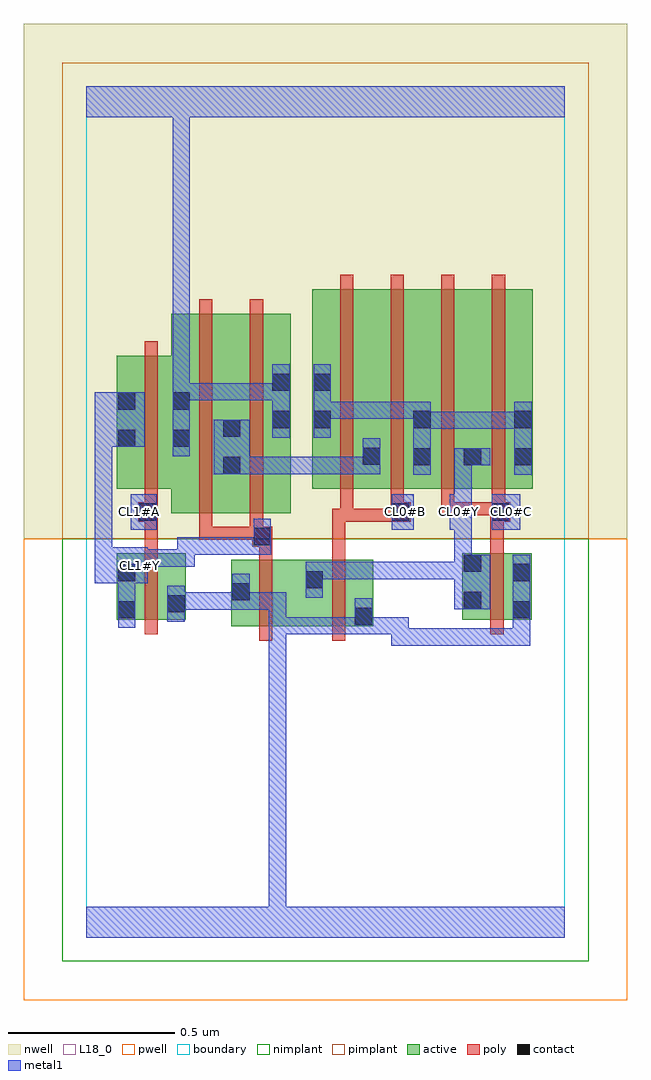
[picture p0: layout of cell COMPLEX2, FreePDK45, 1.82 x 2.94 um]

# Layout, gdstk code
import gdstk
lib = gdstk.Library(unit=1e-6, precision=1e-09)
def R(c, l, rs):  # rectangles x0, y0, x1, y1
    for r in rs: c.add(gdstk.rectangle(r[:2], r[2:], *l))
def A(c, l, x, y, w, h, nx, ny, dx, dy):  # array of equal rectangles
    R(c, l, [(x+i*dx, y+j*dy, x+i*dx+w, y+j*dy+h) for i in range(nx) for j in range(ny)])
active = (1, 0)
pwell = (2, 0)
nwell = (3, 0)
nimplant = (4, 0)
pimplant = (5, 0)
poly = (9, 0)
contact = (10, 0)
metal1 = (11, 0)
L18_0 = (18, 0)
boundary = (235, 0)

complex2 = lib.new_cell('COMPLEX2')
A(complex2, active, 0.828, 1.35, 0.06, 0.494, 4, 1, 0.152, 0)
A(complex2, active, 0.828, 1.35, 0.212, 0.6, 3, 1, 0.152, 0)
R(complex2, active, [(0.436,0.936,0.716,1.136), (0.656,0.936,0.864,1.136), (0.804,0.936,0.864,1.136), (0.092,0.956,0.152,1.156), (0.092,0.956,0.3,1.156), (0.24,0.956,0.3,1.156), (0.436,0.956,0.496,1.136), (0.656,0.956,0.716,1.136), (1.132,0.956,1.192,1.156), (1.132,0.956,1.34,1.156), (1.28,0.956,1.34,1.156), (0.256,1.276,0.468,1.876), (0.408,1.276,0.616,1.876), (0.408,1.276,0.468,1.844), (0.556,1.276,0.616,1.844), (0.092,1.35,0.152,1.644), (0.092,1.35,0.316,1.75), (0.256,1.35,0.316,1.644), (0.68,1.35,0.74,1.844), (0.68,1.35,0.888,1.95)])
R(complex2, pwell, [(-0.188,-0.188,1.628,1.2)])
R(complex2, nwell, [(-0.188,1.2,1.628,2.748)])
R(complex2, nimplant, [(-0.072,-0.072,1.512,1.2)])
R(complex2, pimplant, [(-0.072,1.2,1.512,2.632)])
A(complex2, poly, 0.916, 1.27, 0.04, 0.076, 3, 1, 0.152, 0)
A(complex2, poly, 0.764, 1.306, 0.04, 0.688, 4, 1, 0.152, 0)
R(complex2, poly, [(0.52,0.892,0.56,1.18), (0.74,0.892,0.78,1.18), (0.176,0.912,0.216,1.2), (1.216,0.912,1.256,1.2), (0.52,1.14,0.56,1.216), (0.74,1.14,0.78,1.29), (0.176,1.16,0.216,1.29), (1.216,1.16,1.256,1.29), (0.5,1.176,0.56,1.236), (0.34,1.196,0.38,1.272), (0.34,1.196,0.38,1.236), (0.34,1.196,0.38,1.236), (0.34,1.196,0.38,1.236), (0.34,1.196,0.532,1.236), (0.492,1.196,0.532,1.272), (0.492,1.196,0.54,1.236), (0.5,1.196,0.54,1.236), (0.34,1.232,0.38,1.92), (0.492,1.232,0.532,1.92), (0.156,1.25,0.216,1.31), (0.176,1.25,0.216,1.29), (0.176,1.25,0.216,1.29), (0.74,1.25,0.78,1.29), (0.74,1.25,0.78,1.29), (0.74,1.25,0.804,1.29), (0.764,1.25,0.804,1.29), (0.764,1.25,0.804,1.29), (0.764,1.25,0.956,1.29), (0.764,1.25,0.804,1.346), (0.916,1.25,0.976,1.31), (1.216,1.25,1.256,1.29), (1.216,1.25,1.256,1.29), (1.216,1.25,1.276,1.31), (0.176,1.27,0.216,1.346), (1.068,1.27,1.108,1.31), (1.068,1.27,1.256,1.31), (1.216,1.27,1.256,1.31), (1.216,1.27,1.256,1.31), (0.176,1.306,0.216,1.794)])
A(complex2, contact, 0.984, 1.42, 0.052, 0.052, 3, 1, 0.152, 0)
R(complex2, contact, [(0.808,0.94,0.86,0.992), (0.096,0.96,0.148,1.012), (1.284,0.96,1.336,1.012), (0.244,0.978,0.296,1.03), (1.136,0.988,1.188,1.04), (0.44,1.014,0.492,1.066), (0.66,1.05,0.712,1.102), (0.096,1.072,0.148,1.124), (1.284,1.072,1.336,1.124), (1.136,1.1,1.188,1.152), (0.504,1.18,0.556,1.232), (0.16,1.254,0.212,1.306), (0.92,1.254,0.972,1.306), (1.22,1.254,1.272,1.306), (0.412,1.394,0.464,1.446), (0.832,1.422,0.884,1.474), (0.096,1.476,0.148,1.528), (0.26,1.476,0.312,1.528), (0.412,1.506,0.464,1.558), (0.56,1.532,0.612,1.584), (0.684,1.532,0.736,1.584), (0.984,1.532,1.036,1.584), (1.288,1.532,1.34,1.584), (0.096,1.588,0.148,1.64), (0.26,1.588,0.312,1.64), (0.56,1.644,0.612,1.696), (0.684,1.644,0.736,1.696)])
R(complex2, metal1, [(0,0,1.44,0.092), (0.55,0.04,0.602,0.092), (0.55,0.04,0.602,0.092), (0.55,0.04,0.602,0.092), (0.55,0.04,0.602,0.092), (0.55,0.04,0.602,0.092), (0.55,0.04,0.602,0.092), (0.55,0.04,0.602,0.092), (0.55,0.04,0.602,0.092), (0.55,0.04,0.602,0.092), (0.55,0.04,0.602,0.092), (0.55,0.04,0.602,0.092), (0.55,0.04,0.602,0.092), (0.55,0.04,0.602,0.092), (0.55,0.04,0.602,0.092), (0.55,0.04,0.602,0.964), (0.918,0.878,1.162,0.93), (0.918,0.878,0.97,0.964), (1.11,0.878,1.162,0.93), (1.11,0.878,1.162,0.93), (1.11,0.878,1.162,0.93), (1.11,0.878,1.336,0.93), (1.284,0.878,1.336,0.984), (0.55,0.912,0.602,0.964), (0.55,0.912,0.602,0.964), (0.55,0.912,0.602,0.964), (0.55,0.912,0.602,0.964), (0.55,0.912,0.602,0.964), (0.55,0.912,0.86,0.964), (0.55,0.912,0.602,1.038), (0.808,0.912,0.86,0.964), (0.808,0.912,0.86,0.964), (0.808,0.912,0.97,0.964), (0.808,0.912,0.86,1.02), (0.918,0.912,0.97,0.964), (0.918,0.912,0.97,0.964), (0.096,0.932,0.148,1.152), (1.284,0.932,1.336,0.984), (1.284,0.932,1.336,1.152), (0.244,0.95,0.296,1.058), (0.244,0.986,0.296,1.038), (0.244,0.986,0.296,1.038), (0.244,0.986,0.492,1.038), (0.44,0.986,0.492,1.038), (0.44,0.986,0.492,1.038), (0.44,0.986,0.602,1.038), (0.44,0.986,0.492,1.094), (0.55,0.986,0.602,1.038), (1.108,0.988,1.216,1.152), (0.66,1.022,0.712,1.13), (0.026,1.066,0.186,1.174), (0.66,1.078,0.846,1.13), (0.794,1.078,0.846,1.13), (0.794,1.078,0.846,1.13), (0.794,1.078,0.846,1.13), (0.794,1.078,1.036,1.13), (0.984,1.078,1.036,1.13), (0.984,1.078,1.036,1.13), (0.984,1.078,1.036,1.13), (0.984,1.078,1.16,1.13), (1.108,1.078,1.16,1.13), (1.108,1.078,1.16,1.13), (0.096,1.1,0.148,1.152), (1.108,1.1,1.16,1.278), (0.134,1.116,0.186,1.168), (0.134,1.116,0.186,1.168), (0.134,1.116,0.326,1.168), (0.274,1.116,0.326,1.168), (0.274,1.116,0.326,1.168), (0.274,1.116,0.326,1.204), (0.026,1.122,0.078,1.528), (0.274,1.152,0.436,1.204), (0.384,1.152,0.436,1.204), (0.384,1.152,0.556,1.204), (0.504,1.152,0.556,1.26), (0.134,1.226,0.212,1.334), (0.92,1.226,0.986,1.334), (1.094,1.226,1.16,1.334), (1.22,1.226,1.306,1.334), (1.108,1.282,1.16,1.472), (0.984,1.392,1.036,1.612), (1.288,1.392,1.34,1.612), (0.384,1.394,0.492,1.558), (0.44,1.394,0.492,1.446), (0.44,1.394,0.492,1.446), (0.44,1.394,0.602,1.446), (0.55,1.394,0.602,1.446), (0.55,1.394,0.602,1.446), (0.55,1.394,0.602,1.446), (0.55,1.394,0.712,1.446), (0.66,1.394,0.712,1.446), (0.66,1.394,0.884,1.446), (0.832,1.394,0.884,1.502), (1.108,1.42,1.16,1.472), (1.108,1.42,1.16,1.472), (1.108,1.42,1.216,1.472), (0.26,1.448,0.312,1.668), (0.026,1.476,0.078,1.528), (0.026,1.476,0.078,1.528), (0.026,1.476,0.176,1.64), (0.56,1.504,0.612,1.724), (0.684,1.504,0.736,1.724), (0.984,1.53,1.146,1.582), (1.094,1.53,1.146,1.582), (1.094,1.53,1.146,1.582), (1.094,1.53,1.146,1.582), (1.094,1.53,1.34,1.582), (1.288,1.53,1.34,1.582), (1.288,1.53,1.34,1.582), (0.684,1.56,0.736,1.612), (0.684,1.56,0.736,1.612), (0.684,1.56,0.846,1.612), (0.794,1.56,0.846,1.612), (0.794,1.56,1.036,1.612), (0.984,1.56,1.036,1.612), (0.984,1.56,1.036,1.612), (0.26,1.616,0.312,1.668), (0.26,1.616,0.312,1.668), (0.26,1.616,0.436,1.668), (0.26,1.616,0.312,2.52), (0.384,1.616,0.436,1.668), (0.384,1.616,0.436,1.668), (0.384,1.616,0.436,1.668), (0.384,1.616,0.612,1.668), (0,2.468,1.44,2.56), (0.26,2.468,0.312,2.52), (0.26,2.468,0.312,2.52), (0.26,2.468,0.312,2.52), (0.26,2.468,0.312,2.52), (0.26,2.468,0.312,2.52), (0.26,2.468,0.312,2.52), (0.26,2.468,0.312,2.52), (0.26,2.468,0.312,2.52), (0.26,2.468,0.312,2.52), (0.26,2.468,0.312,2.52), (0.26,2.468,0.312,2.52), (0.26,2.468,0.312,2.52)])
A(complex2, L18_0, 0.934, 1.254, 0.052, 0.052, 3, 1, 0.16, 0)
R(complex2, L18_0, [(0,0,1.44,0.092), (0.55,0.04,0.602,0.092), (0.55,0.04,0.602,0.092), (0.55,0.04,0.602,0.092), (0.55,0.04,0.602,0.092), (0.55,0.04,0.602,0.092), (0.55,0.04,0.602,0.092), (0.55,0.04,0.602,0.092), (0.55,0.04,0.602,0.092), (0.55,0.04,0.602,0.092), (0.55,0.04,0.602,0.092), (0.55,0.04,0.602,0.092), (0.55,0.04,0.602,0.092), (0.55,0.04,0.602,0.092), (0.55,0.04,0.602,0.092), (0.55,0.04,0.602,0.964), (0.918,0.878,0.97,0.964), (0.918,0.878,1.162,0.93), (1.11,0.878,1.162,0.93), (1.11,0.878,1.162,0.93), (1.11,0.878,1.162,0.93), (1.11,0.878,1.336,0.93), (1.284,0.878,1.336,0.984), (0.55,0.912,0.602,0.964), (0.55,0.912,0.602,0.964), (0.55,0.912,0.602,0.964), (0.55,0.912,0.602,0.964), (0.55,0.912,0.602,0.964), (0.55,0.912,0.602,1.038), (0.55,0.912,0.86,0.964), (0.808,0.912,0.86,0.964), (0.808,0.912,0.86,0.964), (0.808,0.912,0.86,1.02), (0.808,0.912,0.97,0.964), (0.918,0.912,0.97,0.964), (0.918,0.912,0.97,0.964), (0.096,0.932,0.148,1.152), (1.284,0.932,1.336,1.152), (1.284,0.932,1.336,0.984), (0.244,0.95,0.296,1.058), (0.244,0.986,0.296,1.038), (0.244,0.986,0.296,1.038), (0.244,0.986,0.492,1.038), (0.44,0.986,0.492,1.038), (0.44,0.986,0.492,1.038), (0.44,0.986,0.492,1.094), (0.44,0.986,0.602,1.038), (0.55,0.986,0.602,1.038), (1.108,0.988,1.216,1.152), (0.66,1.022,0.712,1.13), (0.026,1.066,0.186,1.174), (0.66,1.078,0.846,1.13), (0.794,1.078,0.846,1.13), (0.794,1.078,0.846,1.13), (0.794,1.078,0.846,1.13), (0.794,1.078,1.036,1.13), (0.984,1.078,1.036,1.13), (0.984,1.078,1.036,1.13), (0.984,1.078,1.036,1.13), (0.984,1.078,1.16,1.13), (1.108,1.078,1.16,1.13), (1.108,1.078,1.16,1.13), (0.134,1.094,0.186,1.146), (0.096,1.1,0.148,1.152), (1.108,1.1,1.16,1.278), (0.134,1.116,0.186,1.168), (0.134,1.116,0.186,1.168), (0.134,1.116,0.326,1.168), (0.274,1.116,0.326,1.168), (0.274,1.116,0.326,1.168), (0.274,1.116,0.326,1.204), (0.026,1.122,0.078,1.528), (0.274,1.152,0.436,1.204), (0.384,1.152,0.436,1.204), (0.384,1.152,0.556,1.204), (0.504,1.152,0.556,1.26), (0.134,1.226,0.212,1.334), (0.92,1.226,0.986,1.334), (1.094,1.226,1.16,1.334), (1.22,1.226,1.306,1.334), (0.134,1.254,0.186,1.306), (1.108,1.282,1.16,1.472), (1.108,1.42,1.16,1.472), (1.108,1.42,1.16,1.472), (1.108,1.42,1.216,1.472), (0.26,1.448,0.312,1.668), (0.026,1.476,0.078,1.528), (0.026,1.476,0.078,1.528), (0.026,1.476,0.176,1.64), (0.56,1.504,0.612,1.724), (0.26,1.616,0.312,1.668), (0.26,1.616,0.312,1.668), (0.26,1.616,0.312,2.52), (0.26,1.616,0.436,1.668), (0.384,1.616,0.436,1.668), (0.384,1.616,0.436,1.668), (0.384,1.616,0.436,1.668), (0.384,1.616,0.612,1.668), (0,2.468,1.44,2.56), (0.26,2.468,0.312,2.52), (0.26,2.468,0.312,2.52), (0.26,2.468,0.312,2.52), (0.26,2.468,0.312,2.52), (0.26,2.468,0.312,2.52), (0.26,2.468,0.312,2.52), (0.26,2.468,0.312,2.52), (0.26,2.468,0.312,2.52), (0.26,2.468,0.312,2.52), (0.26,2.468,0.312,2.52), (0.26,2.468,0.312,2.52), (0.26,2.468,0.312,2.52)])
R(complex2, boundary, [(0,0,1.44,2.56)])
complex2.add(gdstk.Label('CL0#B', (0.96,1.28), layer=11, texttype=0))
complex2.add(gdstk.Label('CL0#C', (1.28,1.28), layer=11, texttype=0))
complex2.add(gdstk.Label('CL0#Y', (1.12,1.28), layer=11, texttype=0))
complex2.add(gdstk.Label('CL1#A', (0.16,1.28), layer=11, texttype=0))
complex2.add(gdstk.Label('CL1#Y', (0.16,1.12), layer=11, texttype=0))

lib.write_gds('COMPLEX2.gds')
